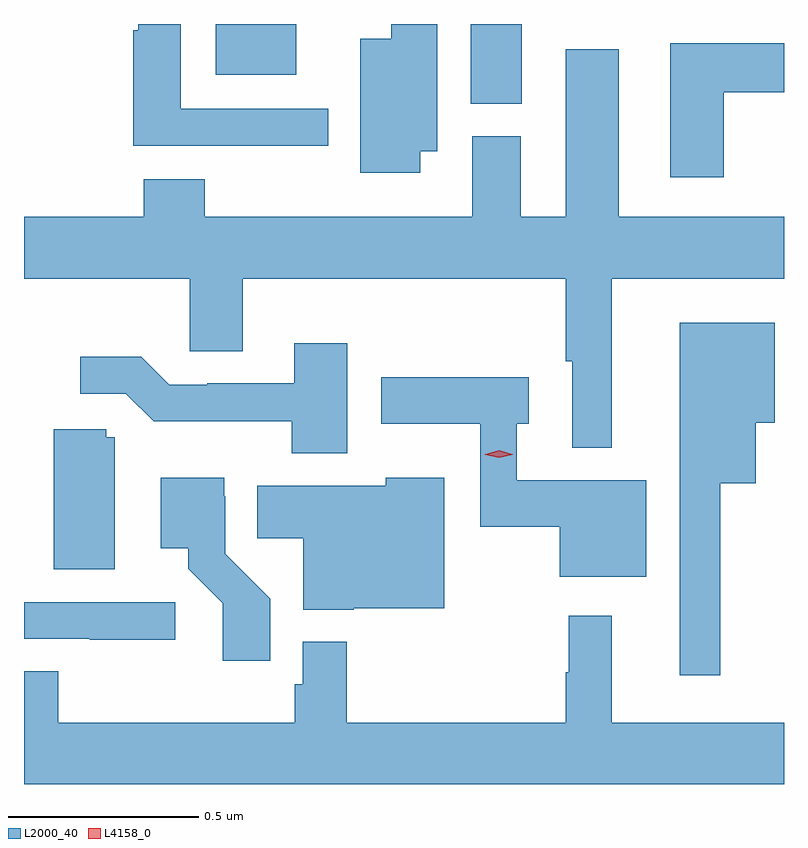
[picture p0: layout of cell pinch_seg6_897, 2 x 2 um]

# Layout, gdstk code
import gdstk
lib = gdstk.Library(unit=1e-6, precision=1e-09)
def R(c, l, rs):  # rectangles x0, y0, x1, y1
    for r in rs: c.add(gdstk.rectangle(r[:2], r[2:], *l))
def P(c, l, *ps):  # polygons
    for p in ps: c.add(gdstk.Polygon(p, *l))
L2000_40 = (2000, 40)
L4158_0 = (4158, 0)

pinch_seg6_897 = lib.new_cell('pinch_seg6_897')
R(pinch_seg6_897, L2000_40, [(126.056,983.761,126.19,983.971), (125.384,983.837,125.596,983.971)])
P(pinch_seg6_897, L2000_40, [(125.68,983.748),(125.293,983.748),(125.293,983.971),(125.18,983.971),(125.18,983.955),(125.168,983.955),(125.168,983.651),(125.68,983.651)],
  [(125.923,983.636),(125.968,983.636),(125.968,983.971),(125.846,983.971),(125.846,983.932),(125.765,983.932),(125.765,983.58),(125.923,983.58)],
  [(126.721,983.792),(126.88,983.792),(126.88,983.92),(126.581,983.92),(126.581,983.568),(126.721,983.568)],
  [(126.427,983.3),(126.88,983.3),(126.88,983.464),(126.445,983.464),(126.445,983.905),(126.305,983.905),(126.305,983.464),(126.187,983.464),(126.187,983.676),(126.059,983.676),(126.059,983.464),(125.355,983.464),(125.355,983.563),(125.195,983.563),(125.195,983.464),(124.88,983.464),(124.88,983.3),(125.316,983.3),(125.316,983.11),(125.455,983.11),(125.455,983.3),(126.306,983.3),(126.306,983.084),(126.323,983.084),(126.323,982.856),(126.427,982.856)],
  [(126.712,982.763),(126.805,982.763),(126.805,982.922),(126.856,982.922),(126.856,983.185),(126.605,983.185),(126.605,982.257),(126.712,982.257)],
  [(125.731,983.131),(125.591,983.131),(125.591,983.025),(125.362,983.025),(125.362,983.022),(125.262,983.022),(125.189,983.095),(125.028,983.095),(125.028,982.998),(125.148,982.998),(125.221,982.926),(125.584,982.926),(125.584,982.841),(125.731,982.841)],
  [(126.517,982.771),(126.177,982.771),(126.177,982.919),(126.208,982.919),(126.208,983.041),(125.82,983.041),(125.82,982.919),(126.081,982.919),(126.081,982.648),(126.29,982.648),(126.29,982.517),(126.517,982.517)],
  [(125.119,982.884),(125.097,982.884),(125.097,982.905),(124.958,982.905),(124.958,982.536),(125.119,982.536)],
  [(125.528,982.458),(125.409,982.577),(125.409,982.728),(125.407,982.728),(125.407,982.777),(125.24,982.777),(125.24,982.592),(125.312,982.592),(125.312,982.537),(125.403,982.447),(125.403,982.296),(125.528,982.296)],
  [(125.748,982.433),(125.986,982.433),(125.986,982.777),(125.832,982.777),(125.832,982.756),(125.494,982.756),(125.494,982.618),(125.615,982.618),(125.615,982.43),(125.748,982.43)],
  [(125.278,982.449),(124.88,982.449),(124.88,982.353),(125.053,982.353),(125.053,982.351),(125.278,982.351)],
  [(126.88,982.132),(126.427,982.132),(126.427,982.414),(126.313,982.414),(126.313,982.265),(126.306,982.265),(126.306,982.132),(125.729,982.132),(125.729,982.345),(125.613,982.345),(125.613,982.233),(125.593,982.233),(125.593,982.132),(124.97,982.132),(124.97,982.268),(124.88,982.268),(124.88,981.971),(126.88,981.971)])
P(pinch_seg6_897, L4158_0, [(126.13,982.829),(126.094,982.838),(126.093,982.839),(126.094,982.839),(126.13,982.849),(126.165,982.839),(126.166,982.839),(126.165,982.838)])

lib.write_gds('pinch_seg6_897.gds')
